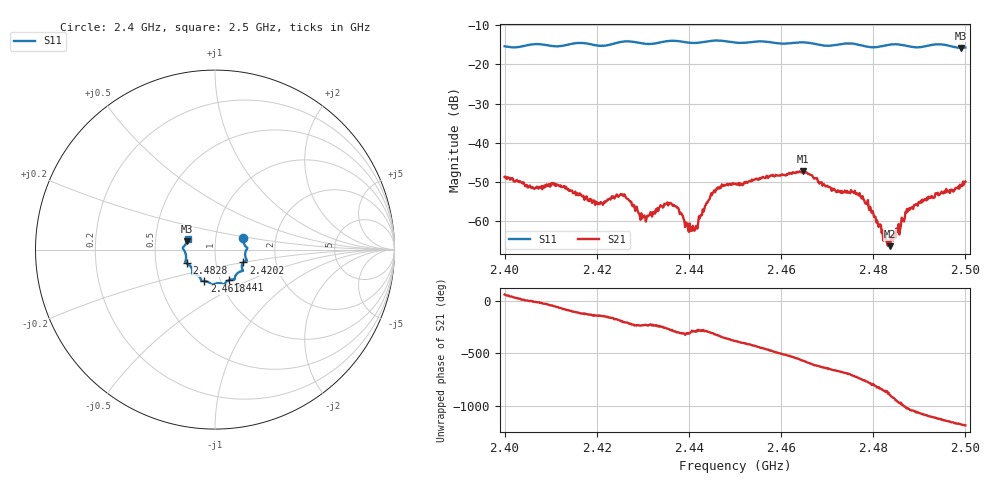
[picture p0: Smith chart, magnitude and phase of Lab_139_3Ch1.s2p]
# Hz S RI R 50
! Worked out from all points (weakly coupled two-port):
!   601 points, 2.4 GHz to 2.5 GHz, reference 50 ohm
!   highest |S21| = -47.21 dB at 2.4647 GHz (marker M1); lowest = -66.3 dB at 2.4837 GHz (marker M2)
!   lowest |S11| = -15.8 dB at 2.499 GHz (marker M3), VSWR 1.39, Z = 36.4 + j3.52 ohm
!   |S11| at or under -10 dB: start of sweep to end of sweep
!   S12 and S22 are empty: the file has one direction only
!   S11 on the Smith chart (normalised r, x): 2.4 GHz: 1.36, +0.17; 2.4202 GHz: 1.36, -0.20; 2.441 GHz: 1.10, -0.39; 2.4618 GHz: 0.84, -0.30; 2.4828 GHz: 0.72, -0.11; 2.5 GHz: 0.73, +0.09
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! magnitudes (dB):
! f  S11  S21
! 2.4 GHz  -15.4  -48.7
! 2.4167 GHz  -14.5  -53.4
! 2.4202 GHz  -15.2  -55.2
! 2.4255 GHz  -14.2  -53.1
! 2.4303 GHz  -14.7  -58.5
! 2.4333 GHz  -14.5  -57.4
! 2.4372 GHz  -14.0  -56.2
! 2.4395 GHz  -14.4  -60.5
! 2.441 GHz  -14.6  -62.2
! 2.4452 GHz  -14.0  -52.7
! 2.45 GHz  -14.5  -50.4
! 2.4618 GHz  -14.6  -47.6
! 2.4647 GHz  -14.4  -47.2
! 2.4667 GHz  -14.6  -48.2
! 2.4715 GHz  -15.1  -51.7
! 2.4775 GHz  -15.2  -54.2
! 2.4828 GHz  -15.1  -64.9
! 2.4833 GHz  -15.0  -65.5
! 2.4837 GHz  -15.0  -66.3
! 2.4878 GHz  -15.4  -56.6
! 2.499 GHz  -15.8  -51.1
! 2.5 GHz  -15.7  -49.8
